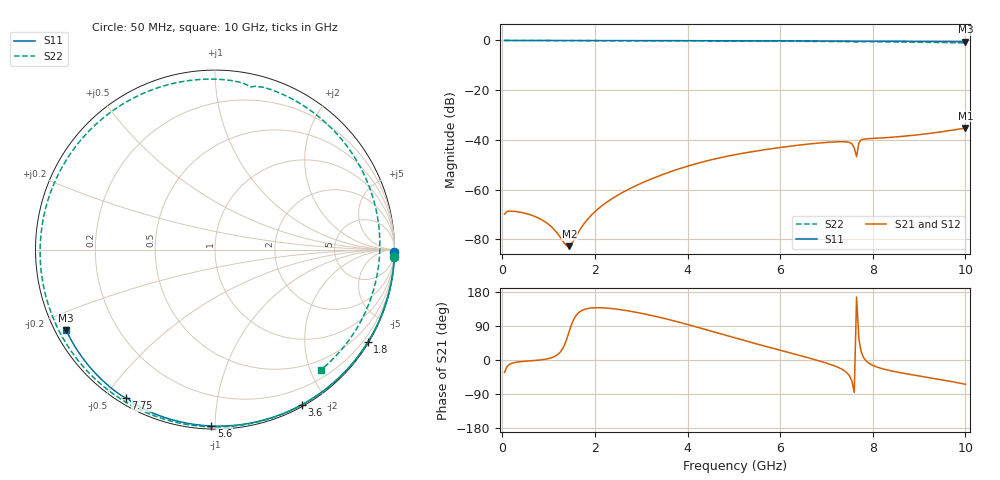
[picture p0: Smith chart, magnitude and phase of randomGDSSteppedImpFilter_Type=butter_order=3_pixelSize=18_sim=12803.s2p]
! freq	dB(S11)	phase(S11)	dB(S12)	phase(S12)
!  dB(S21)	phase(S21)	dB(S22)	phase(S22)
!S-par simulation data
#  GHz  S  DB  R 50
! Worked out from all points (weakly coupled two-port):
!   200 points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, 50 MHz to 10 GHz, reference 50 ohm
!   highest |S21| = -35.24 dB at 10 GHz (marker M1); lowest = -82.8 dB at 1.45 GHz (marker M2)
!   lowest |S11| = -0.5 dB at 10 GHz (marker M3), VSWR 34.06, Z = 1.56 - j12.6 ohm
!   |S11| at or under -10 dB: nowhere
!   |S22| runs from -1.0 to 0.0 dB; largest |S21 - S12| = 0
!   S11 on the Smith chart (normalised r, x): 50 MHz: open; 1.8 GHz: 0.03, -3.58; 3.6 GHz: 0.02, -1.70; 5.6 GHz: 0.02, -0.98; 7.75 GHz: 0.02, -0.57; 10 GHz: 0.03, -0.25
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0.05  -0.00 -0.9  -69.89 -32.5  -69.89 -32.5  -0.00 -2.2
0.7  -0.01 -12.3  -70.78 -1.4  -70.78 -1.4  -0.03 -30.5
1.3  -0.03 -22.7  -80.49 29.1  -80.49 29.1  -0.07 -55.5
1.45  -0.03 -25.3  -82.77 77.4  -82.77 77.4  -0.07 -61.6
1.55  -0.03 -27.0  -80.27 109.0  -80.27 109.0  -0.08 -65.5
1.75  -0.04 -30.4  -74.13 132.3  -74.13 132.3  -0.09 -73.4
1.8  -0.04 -31.2  -72.90 134.5  -72.90 134.5  -0.09 -75.3
2.4  -0.05 -41.3  -63.29 135.2  -63.29 135.2  -0.11 -97.6
3.4  -0.08 -57.6  -54.38 112.6  -54.38 112.6  -0.15 -131.9
3.6  -0.08 -60.8  -53.02 106.6  -53.02 106.6  -0.16 -138.4
4.35  -0.10 -72.5  -48.77 81.7  -48.77 81.7  -0.19 -162.4
5.05  -0.13 -83.1  -45.88 57.3  -45.88 57.3  -0.23 175.2
5.6  -0.15 -91.2  -44.15 38.8  -44.15 38.8  -0.27 157.1
6.7  -0.21 -106.9  -41.51 2.6  -41.51 2.6  -0.37 117.6
7.5  -0.27 -118.1  -41.07 -42.5  -41.07 -42.5  -0.48 84.1
7.6  -0.31 -119.6  -43.25 -85.7  -43.25 -85.7  -0.57 79.4
7.65  -0.36 -120.1  -46.74 166.0  -46.74 166.0  -0.65 77.7
7.7  -0.34 -120.3  -41.28 55.9  -41.28 55.9  -0.56 76.1
7.75  -0.31 -121.0  -39.96 21.5  -39.96 21.5  -0.51 73.5
8.35  -0.33 -129.3  -39.02 -27.4  -39.02 -27.4  -0.57 43.5
9.2  -0.42 -140.8  -37.46 -46.1  -37.46 -46.1  -0.75 -2.8
10  -0.51 -151.6  -35.24 -64.1  -35.24 -64.1  -0.98 -48.7
